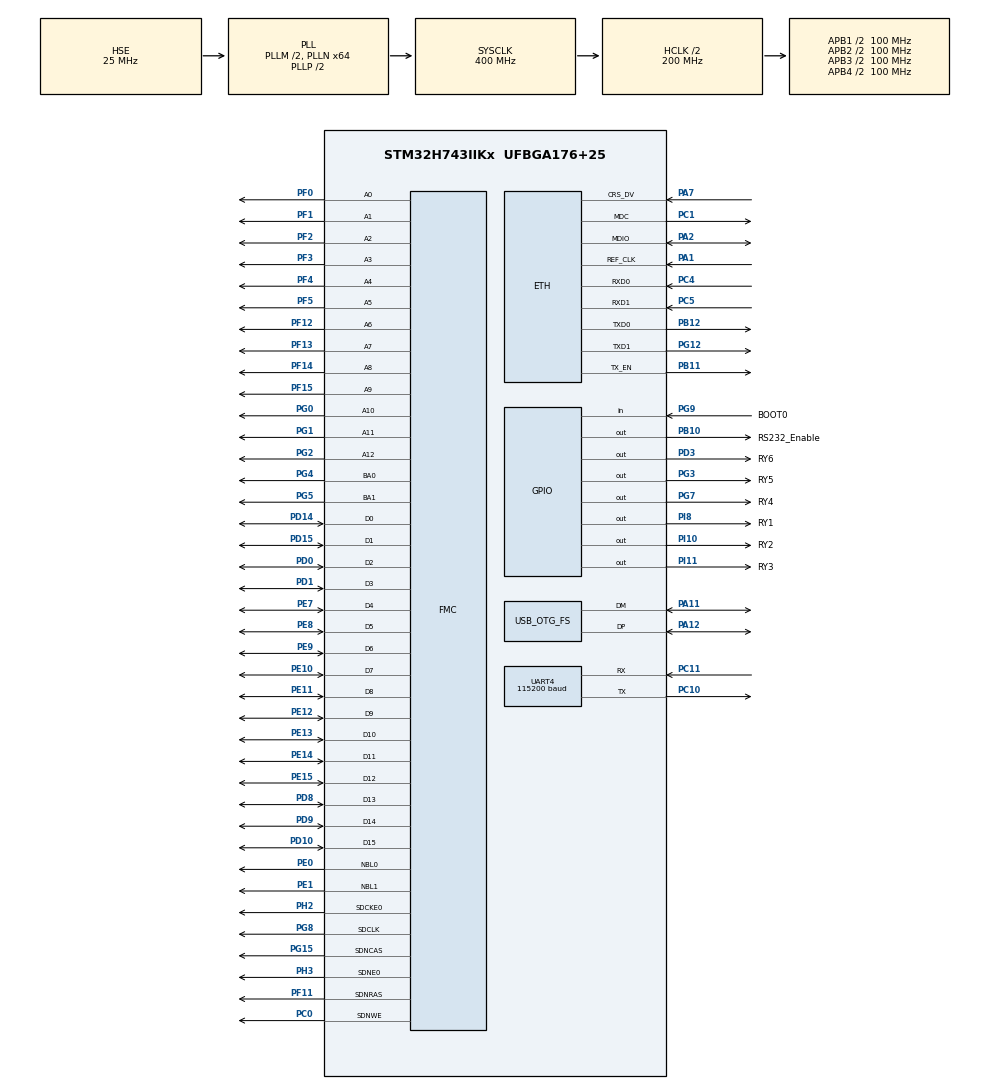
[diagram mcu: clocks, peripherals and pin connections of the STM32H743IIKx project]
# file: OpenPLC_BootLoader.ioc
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CORTEX_M7.AccessPermission-Cortex_Memory_Protection_Unit_Region0_Settings=MPU_REGION_FULL_ACCESS
CORTEX_M7.AccessPermission-Cortex_Memory_Protection_Unit_Region1_Settings=MPU_REGION_FULL_ACCESS
CORTEX_M7.AccessPermission_S-Cortex_Memory_Protection_Unit_Region1_Settings_S=MPU_REGION_FULL_ACCESS
CORTEX_M7.AccessPermission_S-Cortex_Memory_Protection_Unit_Region2_Settings_S=MPU_REGION_FULL_ACCESS
CORTEX_M7.BaseAddress-Cortex_Memory_Protection_Unit_Region0_Settings=0x30040000
CORTEX_M7.BaseAddress-Cortex_Memory_Protection_Unit_Region1_Settings=0x30044000
CORTEX_M7.BaseAddress_S-Cortex_Memory_Protection_Unit_Region1_Settings_S=0x30000000
CORTEX_M7.BaseAddress_S-Cortex_Memory_Protection_Unit_Region2_Settings_S=0x30020000
CORTEX_M7.CPU_DCache=Disabled
CORTEX_M7.CPU_ICache=Enabled
CORTEX_M7.DisableExec-Cortex_Memory_Protection_Unit_Region0_Settings=MPU_INSTRUCTION_ACCESS_ENABLE
CORTEX_M7.DisableExec-Cortex_Memory_Protection_Unit_Region1_Settings=MPU_INSTRUCTION_ACCESS_ENABLE
CORTEX_M7.DisableExec_S-Cortex_Memory_Protection_Unit_Region1_Settings_S=MPU_INSTRUCTION_ACCESS_DISABLE
CORTEX_M7.DisableExec_S-Cortex_Memory_Protection_Unit_Region2_Settings_S=MPU_INSTRUCTION_ACCESS_DISABLE
CORTEX_M7.Enable-Cortex_Memory_Protection_Unit_Region0_Settings=MPU_REGION_ENABLE
CORTEX_M7.Enable-Cortex_Memory_Protection_Unit_Region1_Settings=MPU_REGION_ENABLE
CORTEX_M7.Enable_S-Cortex_Memory_Protection_Unit_Region1_Settings_S=MPU_REGION_ENABLE
CORTEX_M7.Enable_S-Cortex_Memory_Protection_Unit_Region2_Settings_S=MPU_REGION_ENABLE
CORTEX_M7.IsBufferable-Cortex_Memory_Protection_Unit_Region0_Settings=MPU_ACCESS_BUFFERABLE
CORTEX_M7.IsBufferable-Cortex_Memory_Protection_Unit_Region1_Settings=MPU_ACCESS_NOT_BUFFERABLE
CORTEX_M7.IsBufferable_S-Cortex_Memory_Protection_Unit_Region2_Settings_S=MPU_ACCESS_BUFFERABLE
CORTEX_M7.IsCacheable-Cortex_Memory_Protection_Unit_Region0_Settings=MPU_ACCESS_NOT_CACHEABLE
CORTEX_M7.IsCacheable-Cortex_Memory_Protection_Unit_Region1_Settings=MPU_ACCESS_NOT_CACHEABLE
CORTEX_M7.IsShareable-Cortex_Memory_Protection_Unit_Region0_Settings=MPU_ACCESS_NOT_SHAREABLE
CORTEX_M7.IsShareable-Cortex_Memory_Protection_Unit_Region1_Settings=MPU_ACCESS_SHAREABLE
CORTEX_M7.IsShareable_S-Cortex_Memory_Protection_Unit_Region2_Settings_S=MPU_ACCESS_SHAREABLE
CORTEX_M7.MPU_Control=MPU_PRIVILEGED_DEFAULT
CORTEX_M7.Size-Cortex_Memory_Protection_Unit_Region0_Settings=MPU_REGION_SIZE_256B
CORTEX_M7.Size-Cortex_Memory_Protection_Unit_Region1_Settings=MPU_REGION_SIZE_16KB
CORTEX_M7.Size_S-Cortex_Memory_Protection_Unit_Region1_Settings_S=MPU_REGION_SIZE_128KB
CORTEX_M7.Size_S-Cortex_Memory_Protection_Unit_Region2_Settings_S=MPU_REGION_SIZE_256B
CORTEX_M7.SubRegionDisable_Spec=0xC7
CORTEX_M7.TypeExtField-Cortex_Memory_Protection_Unit_Region1_Settings=MPU_TEX_LEVEL1
CORTEX_M7.TypeExtField_S-Cortex_Memory_Protection_Unit_Region1_Settings_S=MPU_TEX_LEVEL1
CORTEX_M7.default_mode_Activation=1
CRC.DefaultInitValueUse=DEFAULT_INIT_VALUE_ENABLE
CRC.DefaultPolynomialUse=DEFAULT_POLYNOMIAL_ENABLE
CRC.InputDataFormat=CRC_INPUTDATA_FORMAT_BYTES
CRC.InputDataInversionMode=CRC_INPUTDATA_INVERSION_BYTE
CRC.OutputDataInversionMode=CRC_OUTPUTDATA_INVERSION_ENABLE
ETH.MACAddr=00\:80\:E1\:00\:43\:21
ETH.MediaInterface=HAL_ETH_RMII_MODE
ETH.RxBufferAddress=0x30020100
ETH.RxDescAddress=0x30020000
ETH.TxDescAddress=0x30020060
FMC.CASLatency1=FMC_SDRAM_CAS_LATENCY_2
FMC.ColumnBitsNumber1=FMC_SDRAM_COLUMN_BITS_NUM_10
FMC.ExitSelfRefreshDelay1=7
FMC.LoadToActiveDelay1=2
FMC.RCDDelay1=3
FMC.RPDelay1=3
FMC.RPDelay2=3
FMC.ReadBurst1=FMC_SDRAM_RBURST_ENABLE
FMC.ReadBurst2=FMC_SDRAM_RBURST_ENABLE
FMC.ReadPipeDelay1=FMC_SDRAM_RPIPE_DELAY_2
FMC.ReadPipeDelay2=FMC_SDRAM_RPIPE_DELAY_2
FMC.RowCycleDelay1=7
FMC.RowCycleDelay2=7
FMC.SDClockPeriod1=FMC_SDRAM_CLOCK_PERIOD_2
FMC.SDClockPeriod2=FMC_SDRAM_CLOCK_PERIOD_2
FMC.SelfRefreshTime1=5
FMC.WriteRecoveryTime1=2
LWIP.BSP.number=1
LWIP.GATEWAY_ADDRESS=192.168.000.001
LWIP.IP_ADDRESS=192.168.000.089
LWIP.LWIP_DHCP=1
LWIP.LWIP_RAM_HEAP_POINTER=0x30000000
LWIP.LWIP_STATS=0
LWIP.LWIP_STATS_DISPLAY=0
LWIP.LWIP_UDP=1
LWIP.MEMP_NUM_PBUF=64
LWIP.MEMP_NUM_TCP_PCB=16
LWIP.MEMP_NUM_UDP_PCB=8
LWIP.MEM_SIZE=131048
LWIP.NETMASK_ADDRESS=000.000.000.000
LWIP.PBUF_POOL_SIZE=16
LWIP.TCP_MSS=1460
LWIP.TCP_SND_BUF=5840
LWIP.TCP_SND_QUEUELEN=16
LWIP.Version=v2.1.2_Cube
LWIP0.BSP.STBoard=false
LWIP0.BSP.api=BSP_COMPONENT_DRIVER
LWIP0.BSP.component=LAN8742
LWIP0.BSP.instance=LAN8742
LWIP0.BSP.name=Driver_PHY
LWIP0.BSP.semaphore=S_LAN8742
LWIP0.BSP.solution=LAN8742
Mcu.Family=STM32H7
Mcu.Name=STM32H743IIKx
Mcu.Package=UFBGA176+25
NVIC.OTG_FS_IRQn=true\:0\:0\:false\:false\:true\:false\:true\:true
NVIC.PriorityGroup=NVIC_PRIORITYGROUP_4
NVIC.TIM6_DAC_IRQn=true\:15\:0\:false\:false\:true\:false\:true\:true
NVIC.TimeBase=TIM6_DAC_IRQn
NVIC.TimeBaseIP=TIM6
PA1.GPIO_Speed=GPIO_SPEED_FREQ_VERY_HIGH
PA1.Mode=RMII
PA1.Signal=ETH_REF_CLK
PA11.Mode=Device_Only
PA11.Signal=USB_OTG_FS_DM
PA12.Mode=Device_Only
PA12.Signal=USB_OTG_FS_DP
PA2.GPIO_Speed=GPIO_SPEED_FREQ_VERY_HIGH
PA2.Mode=RMII
PA2.Signal=ETH_MDIO
PA7.GPIO_Speed=GPIO_SPEED_FREQ_VERY_HIGH
PA7.Mode=RMII
PA7.Signal=ETH_CRS_DV
PB10.GPIO_Label=RS232_Enable
PB10.Signal=GPIO_Output
PB11.GPIO_Speed=GPIO_SPEED_FREQ_VERY_HIGH
PB11.Mode=RMII
PB11.Signal=ETH_TX_EN
PB12.GPIO_Speed=GPIO_SPEED_FREQ_VERY_HIGH
PB12.Mode=RMII
PB12.Signal=ETH_TXD0
PC0.Signal=FMC_SDNWE
PC1.GPIO_Speed=GPIO_SPEED_FREQ_VERY_HIGH
PC1.Mode=RMII
PC1.Signal=ETH_MDC
PC10.Mode=Asynchronous
PC10.Signal=UART4_TX
PC11.Mode=Asynchronous
PC11.Signal=UART4_RX
PC14-OSC32_IN\ (OSC32_IN).Mode=LSE-External-Oscillator
PC14-OSC32_IN\ (OSC32_IN).Signal=RCC_OSC32_IN
PC15-OSC32_OUT\ (OSC32_OUT).Mode=LSE-External-Oscillator
PC15-OSC32_OUT\ (OSC32_OUT).Signal=RCC_OSC32_OUT
PC4.GPIO_Speed=GPIO_SPEED_FREQ_VERY_HIGH
PC4.Mode=RMII
PC4.Signal=ETH_RXD0
PC5.GPIO_Speed=GPIO_SPEED_FREQ_VERY_HIGH
PC5.Mode=RMII
PC5.Signal=ETH_RXD1
PD0.Signal=FMC_D2_DA2
PD1.Signal=FMC_D3_DA3
PD10.Signal=FMC_D15_DA15
PD14.Signal=FMC_D0_DA0
PD15.Signal=FMC_D1_DA1
PD3.GPIO_Label=RY6
PD3.Signal=GPIO_Output
PD8.Signal=FMC_D13_DA13
PD9.Signal=FMC_D14_DA14
PE0.Signal=FMC_NBL0
PE1.Signal=FMC_NBL1
PE10.Signal=FMC_D7_DA7
PE11.Signal=FMC_D8_DA8
PE12.Signal=FMC_D9_DA9
PE13.Signal=FMC_D10_DA10
PE14.Signal=FMC_D11_DA11
PE15.Signal=FMC_D12_DA12
PE7.Signal=FMC_D4_DA4
PE8.Signal=FMC_D5_DA5
PE9.Signal=FMC_D6_DA6
PF0.Signal=FMC_A0
PF1.Signal=FMC_A1
PF11.Signal=FMC_SDNRAS
PF12.Signal=FMC_A6
PF13.Signal=FMC_A7
PF14.Signal=FMC_A8
PF15.Signal=FMC_A9
PF2.Signal=FMC_A2
PF3.Signal=FMC_A3
PF4.Signal=FMC_A4
PF5.Signal=FMC_A5
PG0.Signal=FMC_A10
PG1.Signal=FMC_A11
PG12.GPIO_Speed=GPIO_SPEED_FREQ_VERY_HIGH
PG12.Mode=RMII
PG12.Signal=ETH_TXD1
PG15.Signal=FMC_SDNCAS
PG2.Signal=FMC_A12
PG3.GPIO_Label=RY5
PG3.Signal=GPIO_Output
PG4.Signal=FMC_A14_BA0
PG5.Signal=FMC_A15_BA1
PG7.GPIO_Label=RY4
PG7.Signal=GPIO_Output
PG8.Signal=FMC_SDCLK
PG9.GPIO_Label=BOOT0
PG9.Signal=GPIO_Input
PH0-OSC_IN\ (PH0).Mode=HSE-External-Oscillator
PH0-OSC_IN\ (PH0).Signal=RCC_OSC_IN
PH1-OSC_OUT\ (PH1).Mode=HSE-External-Oscillator
PH1-OSC_OUT\ (PH1).Signal=RCC_OSC_OUT
PH2.Mode=SdramChipSelect1_1
PH2.Signal=FMC_SDCKE0
PH3.Mode=SdramChipSelect1_1
PH3.Signal=FMC_SDNE0
PI10.GPIO_Label=RY2
PI10.Signal=GPIO_Output
PI11.GPIO_Label=RY3
PI11.Signal=GPIO_Output
PI8.GPIO_Label=RY1
PI8.Signal=GPIO_Output
ProjectManager.HeapSize=0x1000
ProjectManager.StackSize=0x2000
ProjectManager.TargetToolchain=STM32CubeIDE
RCC.ADCFreq_Value=75000000
RCC.APB1Freq_Value=100000000
RCC.APB2Freq_Value=100000000
RCC.APB3Freq_Value=100000000
RCC.APB4Freq_Value=100000000
RCC.CortexFreq_Value=400000000
RCC.D1PPRE=RCC_APB3_DIV2
RCC.D2PPRE1=RCC_APB1_DIV2
RCC.D2PPRE2=RCC_APB2_DIV2
RCC.D3PPRE=RCC_APB4_DIV2
RCC.DIVM1=2
RCC.DIVM2=2
RCC.DIVN1=64
RCC.DIVN2=12
RCC.HCLKFreq_Value=200000000
RCC.HPRE=RCC_HCLK_DIV2
RCC.LSE_Drive_Capability=RCC_LSEDRIVE_MEDIUMLOW
RCC.PLL2FRACN=0
RCC.PLL3FRACN=0
RCC.PLLFRACN=0
RCC.PLLSourceVirtual=RCC_PLLSOURCE_HSE
RCC.RTCClockSelection=RCC_RTCCLKSOURCE_LSE
RCC.SYSCLKFreq_VALUE=400000000
RCC.SYSCLKSource=RCC_SYSCLKSOURCE_PLLCLK
RCC.USBCLockSelection=RCC_USBCLKSOURCE_HSI48
RCC.USBFreq_Value=48000000
SH.FMC_A0.0=FMC_A0,13b-sda1
SH.FMC_A1.0=FMC_A1,13b-sda1
SH.FMC_A10.0=FMC_A10,13b-sda1
SH.FMC_A11.0=FMC_A11,13b-sda1
SH.FMC_A12.0=FMC_A12,13b-sda1
SH.FMC_A14_BA0.0=FMC_BA0,FourSdramBanks1
SH.FMC_A15_BA1.0=FMC_BA1,FourSdramBanks1
SH.FMC_A2.0=FMC_A2,13b-sda1
SH.FMC_A3.0=FMC_A3,13b-sda1
SH.FMC_A4.0=FMC_A4,13b-sda1
SH.FMC_A5.0=FMC_A5,13b-sda1
SH.FMC_A6.0=FMC_A6,13b-sda1
SH.FMC_A7.0=FMC_A7,13b-sda1
SH.FMC_A8.0=FMC_A8,13b-sda1
SH.FMC_A9.0=FMC_A9,13b-sda1
SH.FMC_D0_DA0.0=FMC_D0,sd-16b-d1
SH.FMC_D10_DA10.0=FMC_D10,sd-16b-d1
SH.FMC_D11_DA11.0=FMC_D11,sd-16b-d1
SH.FMC_D12_DA12.0=FMC_D12,sd-16b-d1
SH.FMC_D13_DA13.0=FMC_D13,sd-16b-d1
SH.FMC_D14_DA14.0=FMC_D14,sd-16b-d1
SH.FMC_D15_DA15.0=FMC_D15,sd-16b-d1
SH.FMC_D1_DA1.0=FMC_D1,sd-16b-d1
SH.FMC_D2_DA2.0=FMC_D2,sd-16b-d1
SH.FMC_D3_DA3.0=FMC_D3,sd-16b-d1
SH.FMC_D4_DA4.0=FMC_D4,sd-16b-d1
SH.FMC_D5_DA5.0=FMC_D5,sd-16b-d1
SH.FMC_D6_DA6.0=FMC_D6,sd-16b-d1
SH.FMC_D7_DA7.0=FMC_D7,sd-16b-d1
SH.FMC_D8_DA8.0=FMC_D8,sd-16b-d1
SH.FMC_D9_DA9.0=FMC_D9,sd-16b-d1
SH.FMC_NBL0.0=FMC_NBL0,Sd2ByteEnable1
SH.FMC_NBL1.0=FMC_NBL1,Sd2ByteEnable1
SH.FMC_SDCLK.0=FMC_SDCLK,13b-sda1
SH.FMC_SDNCAS.0=FMC_SDNCAS,13b-sda1
SH.FMC_SDNRAS.0=FMC_SDNRAS,13b-sda1
SH.FMC_SDNWE.0=FMC_SDNWE,13b-sda1
UART4.BaudRate=115200
USB_DEVICE.CLASS_NAME_FS=CDC
USB_DEVICE.USBD_LPM_ENABLED-CDC_FS=0
USB_DEVICE.VirtualMode-CDC_FS=Cdc
USB_DEVICE.VirtualModeFS=Cdc_FS
USB_OTG_FS.VirtualMode=Device_Only
VP_CRC_VS_CRC.Mode=CRC_Activate
VP_LWIP_VS_Enabled.Mode=Enabled
VP_MEMORYMAP_VS_MEMORYMAP.Mode=CurAppReg
VP_RCC_USB.Mode=USB_FS
VP_RNG_VS_RNG.Mode=RNG_Activate
VP_RTC_VS_RTC_Activate.Mode=RTC_Enabled
VP_SYS_VS_tim6.Mode=TIM6
VP_USB_DEVICE_VS_USB_DEVICE_CDC_FS.Mode=CDC_FS
board=custom

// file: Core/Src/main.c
/* USER CODE BEGIN Header */
/**
 ******************************************************************************
 * @file           : main.c
 * @brief          : Main program body
 ******************************************************************************
 * @attention
 *
 * Copyright (c) 2023 STMicroelectronics.
 * All rights reserved.
 *
 * This software is licensed under terms that can be found in the LICENSE file
 * in the root directory of this software component.
 * If no LICENSE file comes with this software, it is provided AS-IS.
 *
 ******************************************************************************
 */
/* USER CODE END Header */
#include "main.h"
#include "usart.h"
#include "gpio.h"

/* USER CODE BEGIN Includes */
#include <stdio.h>
#include <string.h>

/* Phase 2 peripherals: CubeMX no longer emits their init calls. */
#include "rng.h"
#include "rtc.h"
#include "crc.h"
#include "fmc.h"
#include "usb_device.h"
#include "lwip.h"

#include "IAP_server.h"
#include "IAP_boot_handoff.h"
#include "safe_outputs.h"
#include "bor_check.h"
#include "iap_auth.h"
#include "net_rand.h"
#include "owner_slot.h"
#include "bootloader_state.h"
#include "boot_log.h"

/* Port test tool: the PC-driven instrument panel for the terminals. Turn it
 * on by defining the symbol in the project's preprocessor settings. */
#ifndef PORTTOOL_ENABLE
#define PORTTOOL_ENABLE 0
#endif
#if PORTTOOL_ENABLE
#include "porttool/porttool.h"
/* The symbol is set by hand rather than by a build configuration, so the one
 * failure mode is shipping an image with it left on: that board never reaches
 * the IAP server and cannot be updated over USB or Ethernet. Say so in the
 * build log, where it is impossible to miss. */
#warning "PORTTOOL_ENABLE=1: this image is the hardware test tool, NOT a bootloader. It never starts the IAP server."
#endif

/* USER CODE END Includes */

/* USER CODE BEGIN PTD */
#ifdef __GNUC__
#define PUTCHAR_PROTOTYPE int __io_putchar(int ch)
#else
#define PUTCHAR_PROTOTYPE int fputc(int ch, FILE *f)
#endif /* __GNUC__ */
/* USER CODE END PTD */

void SystemClock_Config(void);
static void MPU_Config(void);
/* USER CODE BEGIN PFP */

/* Bounded stand-in for ITM_SendChar(): never spin forever on the trace FIFO. */
static void itm_putchar_bounded(uint8_t ch)
{
	if (((ITM->TCR & ITM_TCR_ITMENA_Msk) == 0UL) || ((ITM->TER & 1UL) == 0UL)) {
		return;
	}
	for (uint32_t spins = 0U; spins < 1000U; spins++) {
		if (ITM->PORT[0U].u32 != 0UL) {
			ITM->PORT[0U].u8 = ch;
			return;
		}
	}
}

/* stdout line being collected for the SRAM4 boot log; each line goes in as one
 * record, BOOT_LOG_TAG_BL included. */
static char s_log_line[BOOT_LOG_LINE_MAX];
static size_t s_log_len;

/* A tag with no text after it is a blank line: not worth a record. */
static void boot_log_flush_stdout_line(void)
{
	if (s_log_len > (sizeof(BOOT_LOG_TAG_BL) - 1U)) {
		(void) boot_log_write(s_log_line, s_log_len);
	}
	s_log_len = 0U;
}

void boot_log_flush_stdout(void)
{
	(void) fflush(stdout);
	boot_log_flush_stdout_line();
}

static void boot_log_putc(char ch)
{
	if (ch == '\n') {
		boot_log_flush_stdout_line();
		return;
	}
	if (ch == '\r') {
		return;
	}
	if (s_log_len == 0U) {
		memcpy(s_log_line, BOOT_LOG_TAG_BL, sizeof(BOOT_LOG_TAG_BL) - 1U);
		s_log_len = sizeof(BOOT_LOG_TAG_BL) - 1U;
	}
	s_log_line[s_log_len++] = ch;
	if (s_log_len == sizeof(s_log_line)) {
		boot_log_flush_stdout_line();
	}
}

/* stdout goes to SWO/ITM and the boot log, never to the RS232 terminals
 * (R1-43). Both are bounded: a bootloader must never hang on a log line.
 * The port test tool alone also uses UART4, its command and log channel. */
PUTCHAR_PROTOTYPE {
	itm_putchar_bounded((uint8_t) ch);
	boot_log_putc((char) ch);
#if PORTTOOL_ENABLE
	(void) HAL_UART_Transmit(&huart4, (uint8_t*) &ch, 1, 10);
#endif
	return ch;
}
/* USER CODE END PFP */

/* USER CODE BEGIN 0 */

/* What server_decide() settled on. Phase 2 and the superloop key off it. */
static IAP_Method s_boot_mode = IAP_NONE;

/* Startup window: the system LED blinking is the operator's cue to press BOOT0.
 * It blinks for 2 s, then BOOT0 is read once.
 *
 * No relay, DO or AO moves during boot: a load wired to one would be switched
 * at every power-up (DECISIONS.md #71, IEC 61131-2:2003 6.3.1.4).
 *
 * ⚠️ The judgement is "was the button down at the 2 s mark", NOT "was it held
 * for 2 s". BOOT0 is not looked at while the LED blinks. Holding the button
 * throughout is just the practical way to be sure of covering that one
 * instant, which is what the banner is really telling the operator to do. */
#define BOOT0_WINDOW_MS_TOTAL  2000U
#define BOOT0_WINDOW_BLINK_MS  100U

/* Keep holding past the decision point and it becomes a second gesture:
 * factory reset (requirement R2-02). Ten seconds is far enough from
 * the 2 s mark that nobody reaches it by holding "a bit longer to be sure". */
#define BOOT0_FACTORY_HOLD_MS  10000U

/* A button that never reads as released is a stuck button or a shorted net.
 * Waiting for it forever would leave the board sitting in this loop with no
 * output and no way on, which looks exactly like a dead bootloader. */
#define BOOT0_HOLD_LIMIT_MS    30000U

#define BOOT0_POLL_MS          10U

/* System LED, high = on. Pin: $PROD/docs/hardware/HARDWARE-FACTS.md, "PE2".
 * Not in the .ioc, so configured here; HAL_DeInit() at the jump to the app
 * resets GPIOE, so the app still gets a cold pin (R3-02). */
#define STATUS_LED_PORT        GPIOE
#define STATUS_LED_PIN         GPIO_PIN_2

typedef enum {
	BOOT0_GESTURE_NONE = 0,       /* not down at the decision point            */
	BOOT0_GESTURE_UPLOAD,         /* down at 2 s, released before 10 s         */
	BOOT0_GESTURE_FACTORY_RESET   /* held past 10 s, then released             */
} boot0_gesture_t;

static void status_led_init(void)
{
	GPIO_InitTypeDef init = {0};

	__HAL_RCC_GPIOE_CLK_ENABLE();
	HAL_GPIO_WritePin(STATUS_LED_PORT, STATUS_LED_PIN, GPIO_PIN_RESET);
	init.Pin = STATUS_LED_PIN;
	init.Mode = GPIO_MODE_OUTPUT_PP;
	init.Pull = GPIO_NOPULL;
	init.Speed = GPIO_SPEED_FREQ_LOW;
	HAL_GPIO_Init(STATUS_LED_PORT, &init);
}

static void status_led_set(bool on)
{
	HAL_GPIO_WritePin(STATUS_LED_PORT, STATUS_LED_PIN, on ? GPIO_PIN_SET : GPIO_PIN_RESET);
}

/* Identify blink (R1-44, decision 161): fast blink for 2 s when the PC opens
 * the USB port or sends a unicast UDP request; a new request restarts it.
 * Phase 2 only, so it never overlaps the startup window, and phase 2 leaves
 * only through a reset, so PE2 needs no restore. Same timing as the app
 * (board package cores/arduino/openplc_syslog.cpp). */
#define IDENTIFY_BLINK_MS       2000U
#define IDENTIFY_BLINK_HALF_MS  50U

static volatile bool s_identify_request;

void identify_blink_request(void)
{
	s_identify_request = true;
}

/* Polled from the superloop; never blocks. */
static void identify_blink_poll(void)
{
	static bool s_blinking;
	static bool s_on;
	static uint32_t s_start;
	static uint32_t s_toggled;
	uint32_t now = HAL_GetTick();

	if (s_identify_request) {
		s_identify_request = false;
		s_blinking = true;
		s_start = now;
		s_toggled = now;
		s_on = true;
		status_led_set(true);
	}
	if (!s_blinking) {
		return;
	}
	if ((now - s_start) >= IDENTIFY_BLINK_MS) {
		s_blinking = false;
		status_led_set(false);
	} else if ((now - s_toggled) >= IDENTIFY_BLINK_HALF_MS) {
		s_toggled = now;
		s_on = !s_on;
		status_led_set(s_on);
	}
}

static boot0_gesture_t boot_window(void)
{
	uint32_t held_ms;
	bool armed = false;

	status_led_init();

	/* Printed BEFORE the window, not after: if the board resets partway
	 * through it, the line for the interrupted attempt still reaches the log
	 * and the restart shows up as a second one. */
	printf("Startup window: system LED blinking for %u s\r\n",
			(unsigned)(BOOT0_WINDOW_MS_TOTAL / 1000U));

	for (uint32_t t = 0U; t < BOOT0_WINDOW_MS_TOTAL; t += 2U * BOOT0_WINDOW_BLINK_MS) {
		status_led_set(true);
		HAL_Delay(BOOT0_WINDOW_BLINK_MS);
		status_led_set(false);
		HAL_Delay(BOOT0_WINDOW_BLINK_MS);
	}

	if (boot0_is_pressed() == 0U) {
		return BOOT0_GESTURE_NONE;
	}

	/* Down at the decision point, so the board stays in the bootloader whatever
	 * happens next. Keep watching only to tell the two gestures apart. Nothing
	 * below can change that decision -- it can only add the factory reset. */
	printf("** BOOT0 held - keep holding for %u s to arm a factory reset, "
			"or let go now for upload mode **\r\n",
			(unsigned)(BOOT0_FACTORY_HOLD_MS / 1000U));

	held_ms = BOOT0_WINDOW_MS_TOTAL;
	while (boot0_is_pressed() != 0U) {
		if (!armed && (held_ms >= BOOT0_FACTORY_HOLD_MS)) {
			armed = true;
			/* Steady light: "the factory-reset gesture is armed, let go now". */
			status_led_set(true);
			printf("** Factory reset ARMED - release BOOT0 to run it, "
					"or reset the board to cancel **\r\n");
			continue;
		}
		if (held_ms >= BOOT0_HOLD_LIMIT_MS) {
			printf("** BOOT0 still down after %u s - treating it as stuck, "
					"continuing in upload mode **\r\n",
					(unsigned)(BOOT0_HOLD_LIMIT_MS / 1000U));
			status_led_set(false);
			return BOOT0_GESTURE_UPLOAD;
		}
		HAL_Delay(BOOT0_POLL_MS);
		held_ms += BOOT0_POLL_MS;
	}

	status_led_set(false);
	return armed ? BOOT0_GESTURE_FACTORY_RESET : BOOT0_GESTURE_UPLOAD;
}

/* USER CODE END 0 */

int main(void)
{

  /* USER CODE BEGIN 1 */

  /* Latch the reset cause before anything can clear RCC->RSR. The cold-boot
   * test that keeps us from reading never-written ECC SRAM depends on it. */
  boot_handoff_latch_reset_cause();

  /* Every DO off and both AO at 0 mA before anything else runs: MPU, caches,
   * HAL_Init() and the PLL lock below all take time with the pins floating.
   * Decision 81; $PROD/docs/modules/M1/BOOT-SEQUENCE.md. */
  safe_outputs_init();

  /* Enable the three configurable fault exceptions. Left at their reset default
   * they stay disabled and every MemManage / BusFault / UsageFault escalates to
   * HardFault, so IT_Fault_Report() can only ever report "HardFault" and the
   * stacked PC is the escalation point rather than the faulting instruction.
   * Enabled, each fault takes its own vector and the report names it directly.
   *
   * First statement in main(): SCB needs no clock and no init, so this covers
   * the whole boot. A fault before boot_log_init() still reports over SWO/ITM. */
  SCB->SHCSR |= SCB_SHCSR_MEMFAULTENA_Msk | SCB_SHCSR_BUSFAULTENA_Msk
              | SCB_SHCSR_USGFAULTENA_Msk;

  /* Initialise the D-cache RAMs even though the D-cache stays off. They come up
   * random at power-on, tag and ECC bits included, and any invalidate-by-address
   * has to look a tag up before it can act -- landing on a random entry whose
   * ECC does not check out raises an imprecise BusFault. This pass walks the
   * cache by set and way, which writes the tags instead of looking them up, so
   * it is safe on an uninitialised cache; SCB_EnableDCache() opens with the same
   * step for the same reason. Costs tens of microseconds, once. */
  SCB_InvalidateDCache();

  /* After the cache pass (it cleans by address) and before the first printf.
   * A power-on reset leaves SRAM4 unwritten, so the buffer is only read on a
   * warm boot. $PROD/docs/modules/M1/BOOT-LOG.md */
  boot_log_init((boot_handoff_reset_rsr() & RCC_RSR_PORRSTF) != 0U);

  /* USER CODE END 1 */

  /* MPU Configuration--------------------------------------------------------*/
  MPU_Config();

  /* Enable the CPU Cache */

  /* Enable I-Cache---------------------------------------------------------*/
  SCB_EnableICache();

  /* MCU Configuration--------------------------------------------------------*/

  /* Reset of all peripherals, Initializes the Flash interface and the Systick. */
  HAL_Init();

  /* USER CODE BEGIN SysInit */

  SystemClock_Config();

  /* Phase 1: decide. Only what the decision itself needs is brought up here, so
   * the application inherits none of our peripheral state on the jump path. */
  /* RS232_Enable is left low: the bootloader never powers the transceiver or
   * touches UART4, the RS232 terminals belong to the sketch (R1-43). */
  MX_GPIO_Init();      /* BOOT0 net, relay outputs, RS232_Enable */
#if PORTTOOL_ENABLE
  /* The port test tool alone uses UART4: its command channel and its log. */
  Enable_RX_RS232();   /* the MAX3221 stays in shutdown until this pin is high */
  MX_UART4_Init();
#endif
  bor_level_report();   /* first thing the log can show: IEC-06 */

#if PORTTOOL_ENABLE
  /* Takes the board for the whole session and never returns, so the BOOT0
   * gesture, the start decision, the jump to app and the IAP server below are
   * all unreachable in this image. */
  PortTool_Run();
#endif

  printf("** Checking Starting Mod ...\r\n"
		  "** (IF You want OpenPLC to stay in upload mode, hold down the BOOT0 button until the system LED stops blinking)\r\n");

  printf("** Reset cause: %s\r\n", boot_handoff_reset_cause_str());

  {
    boot0_gesture_t gesture = boot_window();

    /* Before anything reads the root area: finishes a sector-15 reclaim a
     * power cut interrupted. */
    bootloader_state_init();

    if (gesture == BOOT0_GESTURE_FACTORY_RESET) {
      /* ⚠️ BEFORE server_decide(), because that is where the owner slot is
       * scanned and reported. Clearing afterwards would make this boot's log
       * describe ownership that had just been thrown away -- the log would
       * contradict the board on the one boot where somebody is certainly
       * reading it.
       *
       * The gesture is the physical gate: ten seconds on a button nobody
       * reaches by accident, on a board somebody is standing at. */
      (void)owner_slot_factory_reset(true);
    }

    /* server_decide() only needs to know whether to stay in the bootloader.
     * Both gestures mean yes; they differ only in what happened above. */
    s_boot_mode = server_decide((gesture == BOOT0_GESTURE_NONE) ? 0U : 1U);
  }

  if (s_boot_mode == IAP_NONE) {
    server_jump_to_app();   /* hands the hardware back; never returns */
  }
  /* USER CODE END SysInit */

  /* Initialize all configured peripherals */
  MX_GPIO_Init();
  /* USER CODE BEGIN 2 */

  /* Phase 2: staying in the bootloader. */

  MX_RNG_Init();   /* iap_auth draws the challenge nonce from it */
  net_rand_seed(); /* before MX_LWIP_Init(): lwIP's LWIP_RAND() is rand() */
  MX_RTC_Init();   /* backup-domain witness */
  iap_auth_report_backup_domain();
  MX_CRC_Init();   /* upload checksum */
  MX_FMC_Init();   /* external SDRAM: staging area for the incoming image */

  /* IAP_ALL means the channel is unknown, so open both rather than guess. */
  if ((s_boot_mode == IAP_CDC) || (s_boot_mode == IAP_ALL)) {
    MX_USB_DEVICE_Init();
  }
  if ((s_boot_mode == IAP_ETHERNET) || (s_boot_mode == IAP_ALL)) {
    MX_LWIP_Init();
  }

  IAP_servers_start(s_boot_mode);
  /* USER CODE END 2 */

  /* Infinite loop */
  while (1) {

    /* USER CODE BEGIN 3 */
    IAP_task();
    identify_blink_poll();
    /* MX_LWIP_Init() only ran for the ethernet modes. */
    if ((s_boot_mode == IAP_ETHERNET) || (s_boot_mode == IAP_ALL)) {
      MX_LWIP_Process();
    }
    HAL_Delay(10);
  }
  /* USER CODE END 3 */
}

void SystemClock_Config(void)
{
  RCC_OscInitTypeDef RCC_OscInitStruct = {0};
  RCC_ClkInitTypeDef RCC_ClkInitStruct = {0};
  RCC_CRSInitTypeDef RCC_CRSInitStruct = {0};

  /** Supply configuration update enable
  */
  HAL_PWREx_ConfigSupply(PWR_LDO_SUPPLY);

  /** Configure the main internal regulator output voltage
  */
  __HAL_PWR_VOLTAGESCALING_CONFIG(PWR_REGULATOR_VOLTAGE_SCALE1);

  while(!__HAL_PWR_GET_FLAG(PWR_FLAG_VOSRDY)) {}

  /** Configure LSE Drive Capability
  */
  HAL_PWR_EnableBkUpAccess();
  __HAL_RCC_LSEDRIVE_CONFIG(RCC_LSEDRIVE_MEDIUMLOW);

  /** Initializes the RCC Oscillators according to the specified parameters
  * in the RCC_OscInitTypeDef structure.
  */
  RCC_OscInitStruct.OscillatorType = RCC_OSCILLATORTYPE_HSI48|RCC_OSCILLATORTYPE_HSE
                              |RCC_OSCILLATORTYPE_LSE;
  RCC_OscInitStruct.HSEState = RCC_HSE_ON;
  RCC_OscInitStruct.LSEState = RCC_LSE_ON;
  RCC_OscInitStruct.HSI48State = RCC_HSI48_ON;
  RCC_OscInitStruct.PLL.PLLState = RCC_PLL_ON;
  RCC_OscInitStruct.PLL.PLLSource = RCC_PLLSOURCE_HSE;
  RCC_OscInitStruct.PLL.PLLM = 2;
  RCC_OscInitStruct.PLL.PLLN = 64;
  RCC_OscInitStruct.PLL.PLLP = 2;
  RCC_OscInitStruct.PLL.PLLQ = 2;
  RCC_OscInitStruct.PLL.PLLR = 2;
  RCC_OscInitStruct.PLL.PLLRGE = RCC_PLL1VCIRANGE_3;
  RCC_OscInitStruct.PLL.PLLVCOSEL = RCC_PLL1VCOWIDE;
  RCC_OscInitStruct.PLL.PLLFRACN = 0;
  if (HAL_RCC_OscConfig(&RCC_OscInitStruct) != HAL_OK)
  {
    Error_Handler();
  }

  /** Initializes the CPU, AHB and APB buses clocks
  */
  RCC_ClkInitStruct.ClockType = RCC_CLOCKTYPE_HCLK|RCC_CLOCKTYPE_SYSCLK
                              |RCC_CLOCKTYPE_PCLK1|RCC_CLOCKTYPE_PCLK2
                              |RCC_CLOCKTYPE_D3PCLK1|RCC_CLOCKTYPE_D1PCLK1;
  RCC_ClkInitStruct.SYSCLKSource = RCC_SYSCLKSOURCE_PLLCLK;
  RCC_ClkInitStruct.SYSCLKDivider = RCC_SYSCLK_DIV1;
  RCC_ClkInitStruct.AHBCLKDivider = RCC_HCLK_DIV2;
  RCC_ClkInitStruct.APB3CLKDivider = RCC_APB3_DIV2;
  RCC_ClkInitStruct.APB1CLKDivider = RCC_APB1_DIV2;
  RCC_ClkInitStruct.APB2CLKDivider = RCC_APB2_DIV2;
  RCC_ClkInitStruct.APB4CLKDivider = RCC_APB4_DIV2;

  if (HAL_RCC_ClockConfig(&RCC_ClkInitStruct, FLASH_LATENCY_2) != HAL_OK)
  {
    Error_Handler();
  }

  /** Enable the SYSCFG APB clock
  */
  __HAL_RCC_CRS_CLK_ENABLE();

  /** Configures CRS
  */
  RCC_CRSInitStruct.Prescaler = RCC_CRS_SYNC_DIV1;
  RCC_CRSInitStruct.Source = RCC_CRS_SYNC_SOURCE_USB2;
  RCC_CRSInitStruct.Polarity = RCC_CRS_SYNC_POLARITY_RISING;
  RCC_CRSInitStruct.ReloadValue = __HAL_RCC_CRS_RELOADVALUE_CALCULATE(48000000,1000);
  RCC_CRSInitStruct.ErrorLimitValue = 34;
  RCC_CRSInitStruct.HSI48CalibrationValue = 32;

  HAL_RCCEx_CRSConfig(&RCC_CRSInitStruct);
}

 /* MPU Configuration */

void MPU_Config(void)
{
  MPU_Region_InitTypeDef MPU_InitStruct = {0};

  /* Disables the MPU */
  HAL_MPU_Disable();

  /** Initializes and configures the Region and the memory to be protected
  */
  MPU_InitStruct.Enable = MPU_REGION_ENABLE;
  MPU_InitStruct.Number = MPU_REGION_NUMBER0;
  MPU_InitStruct.BaseAddress = 0x0;
  MPU_InitStruct.Size = MPU_REGION_SIZE_4GB;
  MPU_InitStruct.SubRegionDisable = 0xC7;
  MPU_InitStruct.TypeExtField = MPU_TEX_LEVEL0;
  MPU_InitStruct.AccessPermission = MPU_REGION_NO_ACCESS;
  MPU_InitStruct.DisableExec = MPU_INSTRUCTION_ACCESS_DISABLE;
  MPU_InitStruct.IsShareable = MPU_ACCESS_SHAREABLE;
  MPU_InitStruct.IsCacheable = MPU_ACCESS_NOT_CACHEABLE;
  MPU_InitStruct.IsBufferable = MPU_ACCESS_NOT_BUFFERABLE;

  HAL_MPU_ConfigRegion(&MPU_InitStruct);

  /** Initializes and configures the Region and the memory to be protected
  */
  MPU_InitStruct.Number = MPU_REGION_NUMBER1;
  MPU_InitStruct.BaseAddress = 0x30000000;
  MPU_InitStruct.Size = MPU_REGION_SIZE_128KB;
  MPU_InitStruct.SubRegionDisable = 0x0;
  MPU_InitStruct.TypeExtField = MPU_TEX_LEVEL1;
  MPU_InitStruct.AccessPermission = MPU_REGION_FULL_ACCESS;
  MPU_InitStruct.IsShareable = MPU_ACCESS_NOT_SHAREABLE;

  HAL_MPU_ConfigRegion(&MPU_InitStruct);

  /** Initializes and configures the Region and the memory to be protected
  */
  MPU_InitStruct.Number = MPU_REGION_NUMBER2;
  MPU_InitStruct.BaseAddress = 0x30020000;
  MPU_InitStruct.Size = MPU_REGION_SIZE_256B;
  MPU_InitStruct.TypeExtField = MPU_TEX_LEVEL0;
  MPU_InitStruct.IsShareable = MPU_ACCESS_SHAREABLE;
  MPU_InitStruct.IsBufferable = MPU_ACCESS_BUFFERABLE;

  HAL_MPU_ConfigRegion(&MPU_InitStruct);
  /* Enables the MPU */
  HAL_MPU_Enable(MPU_PRIVILEGED_DEFAULT);

}

void HAL_TIM_PeriodElapsedCallback(TIM_HandleTypeDef *htim)
{
  if (htim->Instance == TIM6)
  {
    HAL_IncTick();
  }
}

void Error_Handler(void)
{
	__disable_irq();
	while (1) {
	}
}
